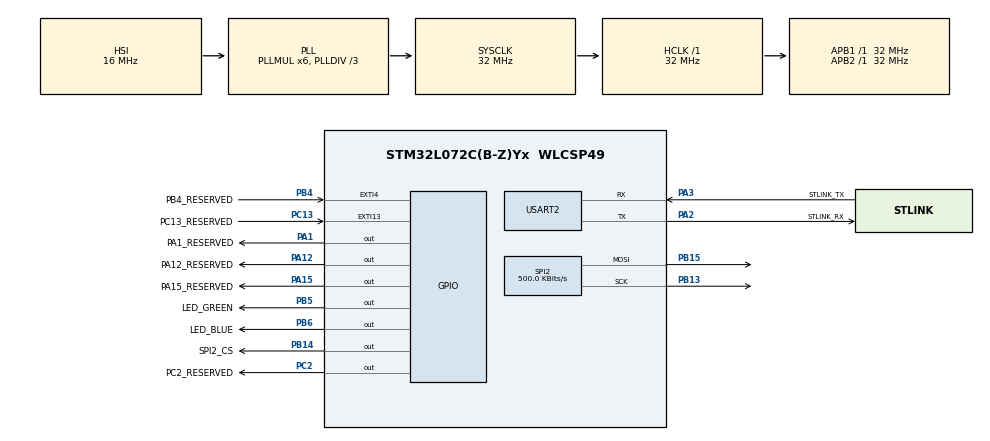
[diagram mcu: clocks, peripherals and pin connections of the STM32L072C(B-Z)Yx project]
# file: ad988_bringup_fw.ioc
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Mcu.Family=STM32L0
Mcu.Name=STM32L072C(B-Z)Yx
Mcu.Package=WLCSP49
NVIC.EXTI4_15_IRQn=true\:0\:0\:false\:false\:true\:true\:true\:true
NVIC.RTC_IRQn=true\:0\:0\:false\:false\:true\:true\:true\:true
NVIC.USART2_IRQn=true\:0\:0\:false\:false\:true\:true\:true\:true
PA1.GPIO_Label=PA1_RESERVED
PA1.GPIO_Speed=GPIO_SPEED_FREQ_HIGH
PA1.PinState=GPIO_PIN_RESET
PA1.Signal=GPIO_Output
PA12.GPIO_Label=PA12_RESERVED
PA12.GPIO_Speed=GPIO_SPEED_FREQ_HIGH
PA12.Signal=GPIO_Output
PA13.Mode=Serial_Wire
PA13.Signal=SYS_SWDIO
PA14.Mode=Serial_Wire
PA14.Signal=SYS_SWCLK
PA15.GPIO_Label=PA15_RESERVED
PA15.GPIO_Speed=GPIO_SPEED_FREQ_HIGH
PA15.Signal=GPIO_Output
PA2.GPIO_Label=STLINK_RX
PA2.Mode=Asynchronous
PA2.Signal=USART2_TX
PA3.GPIO_Label=STLINK_TX
PA3.Mode=Asynchronous
PA3.Signal=USART2_RX
PB13.Mode=TX_Only_Simplex_Unidirect_Master
PB13.Signal=SPI2_SCK
PB14.GPIO_Label=SPI2_CS
PB14.Signal=GPIO_Output
PB15.Mode=TX_Only_Simplex_Unidirect_Master
PB15.Signal=SPI2_MOSI
PB3.GPIO_Label=PB3_RESERVED
PB3.Signal=SPI1_SCK
PB4.GPIO_Label=PB4_RESERVED
PB4.Signal=GPXTI4
PB5.GPIO_Label=LED_GREEN
PB5.Signal=GPIO_Output
PB6.GPIO_Label=LED_BLUE
PB6.Signal=GPIO_Output
PC13.GPIO_Label=PC13_RESERVED
PC13.Signal=GPXTI13
PC2.GPIO_Label=PC2_RESERVED
PC2.GPIO_Speed=GPIO_SPEED_FREQ_HIGH
PC2.Signal=GPIO_Output
PH0-OSC_IN.Mode=HSE-External-Oscillator
PH0-OSC_IN.Signal=RCC_OSC_IN
PH1-OSC_OUT.Mode=HSE-External-Oscillator
PH1-OSC_OUT.Signal=RCC_OSC_OUT
ProjectManager.HeapSize=0x200
ProjectManager.StackSize=0x400
ProjectManager.TargetToolchain=CMake
RCC.AHBFreq_Value=32000000
RCC.APB1Freq_Value=32000000
RCC.APB1TimFreq_Value=32000000
RCC.APB2Freq_Value=32000000
RCC.APB2TimFreq_Value=32000000
RCC.HCLKFreq_Value=32000000
RCC.HSE_VALUE=8000000
RCC.HSI16_VALUE=16000000
RCC.HSI48_VALUE=48000000
RCC.HSI_VALUE=16000000
RCC.LSE_VALUE=32768
RCC.MSI_VALUE=2097000
RCC.PLLDIV=RCC_PLLDIV_3
RCC.PLLMUL=RCC_PLLMUL_6
RCC.SYSCLKFreq_VALUE=32000000
RCC.SYSCLKSource=RCC_SYSCLKSOURCE_PLLCLK
RCC.VCOOutputFreq_Value=96000000
RTC.Alarm-Alarm\ A=RTC_ALARM_A
RTC.AlarmSubSecondMask-Alarm\ A=RTC_ALARMSUBSECONDMASK_NONE
RTC.AsynchPrediv=31
RTC.Format=RTC_FORMAT_BIN
RTC.SynchPrediv=1023
SPI2.BaudRatePrescaler=SPI_BAUDRATEPRESCALER_64
SPI2.CLKPhase=SPI_PHASE_1EDGE
SPI2.CLKPolarity=SPI_POLARITY_HIGH
SPI2.CalculateBaudRate=500.0 KBits/s
SPI2.DataSize=SPI_DATASIZE_16BIT
SPI2.Direction=SPI_DIRECTION_2LINES
SPI2.Mode=SPI_MODE_MASTER
SPI2.VirtualType=VM_MASTER
USART2.VirtualMode-Asynchronous=VM_ASYNC
VP_RTC_VS_RTC_Activate.Mode=RTC_Enabled
VP_RTC_VS_RTC_Alarm_A_Intern.Mode=Alarm A
VP_RTC_VS_RTC_Calendar.Mode=RTC_Calendar
board=B-L072Z-LRWAN1

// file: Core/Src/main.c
/* USER CODE BEGIN Header */
/**
  ******************************************************************************
  * @file           : main.c
  * @brief          : Main program body
  ******************************************************************************
  * @attention
  *
  * Copyright (c) 2025 STMicroelectronics.
  * All rights reserved.
  *
  * This software is licensed under terms that can be found in the LICENSE file
  * in the root directory of this software component.
  * If no LICENSE file comes with this software, it is provided AS-IS.
  *
  ******************************************************************************
  */
/* USER CODE END Header */
#include "main.h"

/* USER CODE BEGIN Includes */
#include "driver_ad9833.h"
/* USER CODE END Includes */

RTC_HandleTypeDef hrtc;

SPI_HandleTypeDef hspi2;

UART_HandleTypeDef huart2;

void SystemClock_Config(void);
static void MX_GPIO_Init(void);
static void MX_RTC_Init(void);
static void MX_SPI2_Init(void);
static void MX_USART2_UART_Init(void);

int main(void)
{

  /* MCU Configuration--------------------------------------------------------*/

  /* Reset of all peripherals, Initializes the Flash interface and the Systick. */
  HAL_Init();

  /* Configure the system clock */
  SystemClock_Config();

  /* Initialize all configured peripherals */
  MX_GPIO_Init();
  MX_RTC_Init();
  MX_SPI2_Init();
  MX_USART2_UART_Init();
  /* USER CODE BEGIN 2 */
  HAL_GPIO_WritePin(SPI2_CS_GPIO_Port, SPI2_CS_Pin, GPIO_PIN_SET);
  /* USER CODE END 2 */

  /* Infinite loop */
  /* USER CODE BEGIN WHILE */
  int loop_idx = 0;
  wave_flag_type_t wavetype = WAVE_TYPE_SIN;
  float freq = 100;
  while (1) {
    loop_idx++;
    if (loop_idx % 4 == 0) {
      wavetype = WAVE_TYPE_SIN;
    } else if (loop_idx % 3 == 0) {
      wavetype = WAVE_TYPE_SQUARE;
    }
    else {
      wavetype = WAVE_TYPE_TRI;
    }
    AD9833_SetWave(wavetype, freq, 0);
    freq *= 2;

    for (int i=0; i<2; i++) {
      HAL_GPIO_TogglePin(LED_GREEN_GPIO_Port, LED_GREEN_Pin);
      HAL_GPIO_TogglePin(LED_BLUE_GPIO_Port, LED_BLUE_Pin);
      HAL_Delay(1000);
    }
    if (freq > 1.0e6) {
      freq = 100.0;
    }
    /* USER CODE END WHILE */

  }
}

void SystemClock_Config(void)
{
  RCC_OscInitTypeDef RCC_OscInitStruct = {0};
  RCC_ClkInitTypeDef RCC_ClkInitStruct = {0};
  RCC_PeriphCLKInitTypeDef PeriphClkInit = {0};

  /** Configure the main internal regulator output voltage
  */
  __HAL_PWR_VOLTAGESCALING_CONFIG(PWR_REGULATOR_VOLTAGE_SCALE1);

  /** Initializes the RCC Oscillators according to the specified parameters
  * in the RCC_OscInitTypeDef structure.
  */
  RCC_OscInitStruct.OscillatorType = RCC_OSCILLATORTYPE_HSI|RCC_OSCILLATORTYPE_LSI;
  RCC_OscInitStruct.HSIState = RCC_HSI_ON;
  RCC_OscInitStruct.HSICalibrationValue = RCC_HSICALIBRATION_DEFAULT;
  RCC_OscInitStruct.LSIState = RCC_LSI_ON;
  RCC_OscInitStruct.PLL.PLLState = RCC_PLL_ON;
  RCC_OscInitStruct.PLL.PLLSource = RCC_PLLSOURCE_HSI;
  RCC_OscInitStruct.PLL.PLLMUL = RCC_PLLMUL_6;
  RCC_OscInitStruct.PLL.PLLDIV = RCC_PLLDIV_3;
  if (HAL_RCC_OscConfig(&RCC_OscInitStruct) != HAL_OK)
  {
    Error_Handler();
  }

  /** Initializes the CPU, AHB and APB buses clocks
  */
  RCC_ClkInitStruct.ClockType = RCC_CLOCKTYPE_HCLK|RCC_CLOCKTYPE_SYSCLK
                              |RCC_CLOCKTYPE_PCLK1|RCC_CLOCKTYPE_PCLK2;
  RCC_ClkInitStruct.SYSCLKSource = RCC_SYSCLKSOURCE_PLLCLK;
  RCC_ClkInitStruct.AHBCLKDivider = RCC_SYSCLK_DIV1;
  RCC_ClkInitStruct.APB1CLKDivider = RCC_HCLK_DIV1;
  RCC_ClkInitStruct.APB2CLKDivider = RCC_HCLK_DIV1;

  if (HAL_RCC_ClockConfig(&RCC_ClkInitStruct, FLASH_LATENCY_1) != HAL_OK)
  {
    Error_Handler();
  }
  PeriphClkInit.PeriphClockSelection = RCC_PERIPHCLK_USART2|RCC_PERIPHCLK_RTC;
  PeriphClkInit.Usart2ClockSelection = RCC_USART2CLKSOURCE_PCLK1;
  PeriphClkInit.RTCClockSelection = RCC_RTCCLKSOURCE_LSI;
  if (HAL_RCCEx_PeriphCLKConfig(&PeriphClkInit) != HAL_OK)
  {
    Error_Handler();
  }
}

static void MX_RTC_Init(void)
{

  RTC_TimeTypeDef sTime = {0};
  RTC_DateTypeDef sDate = {0};
  RTC_AlarmTypeDef sAlarm = {0};

  /** Initialize RTC Only
  */
  hrtc.Instance = RTC;
  hrtc.Init.HourFormat = RTC_HOURFORMAT_24;
  hrtc.Init.AsynchPrediv = 31;
  hrtc.Init.SynchPrediv = 1023;
  hrtc.Init.OutPut = RTC_OUTPUT_DISABLE;
  hrtc.Init.OutPutRemap = RTC_OUTPUT_REMAP_NONE;
  hrtc.Init.OutPutPolarity = RTC_OUTPUT_POLARITY_HIGH;
  hrtc.Init.OutPutType = RTC_OUTPUT_TYPE_OPENDRAIN;
  if (HAL_RTC_Init(&hrtc) != HAL_OK)
  {
    Error_Handler();
  }

  /** Initialize RTC and set the Time and Date
  */
  sTime.Hours = 0;
  sTime.Minutes = 0;
  sTime.Seconds = 0;
  sTime.DayLightSaving = RTC_DAYLIGHTSAVING_NONE;
  sTime.StoreOperation = RTC_STOREOPERATION_RESET;
  if (HAL_RTC_SetTime(&hrtc, &sTime, RTC_FORMAT_BIN) != HAL_OK)
  {
    Error_Handler();
  }
  sDate.WeekDay = RTC_WEEKDAY_MONDAY;
  sDate.Month = RTC_MONTH_JANUARY;
  sDate.Date = 1;
  sDate.Year = 0;

  if (HAL_RTC_SetDate(&hrtc, &sDate, RTC_FORMAT_BIN) != HAL_OK)
  {
    Error_Handler();
  }

  /** Enable the Alarm A
  */
  sAlarm.AlarmTime.Hours = 0;
  sAlarm.AlarmTime.Minutes = 0;
  sAlarm.AlarmTime.Seconds = 0;
  sAlarm.AlarmTime.SubSeconds = 0;
  sAlarm.AlarmTime.DayLightSaving = RTC_DAYLIGHTSAVING_NONE;
  sAlarm.AlarmTime.StoreOperation = RTC_STOREOPERATION_RESET;
  sAlarm.AlarmMask = RTC_ALARMMASK_NONE;
  sAlarm.AlarmSubSecondMask = RTC_ALARMSUBSECONDMASK_NONE;
  sAlarm.AlarmDateWeekDaySel = RTC_ALARMDATEWEEKDAYSEL_DATE;
  sAlarm.AlarmDateWeekDay = 1;
  sAlarm.Alarm = RTC_ALARM_A;
  if (HAL_RTC_SetAlarm_IT(&hrtc, &sAlarm, RTC_FORMAT_BIN) != HAL_OK)
  {
    Error_Handler();
  }

}

static void MX_SPI2_Init(void)
{

  /* SPI2 parameter configuration*/
  hspi2.Instance = SPI2;
  hspi2.Init.Mode = SPI_MODE_MASTER;
  hspi2.Init.Direction = SPI_DIRECTION_2LINES;
  hspi2.Init.DataSize = SPI_DATASIZE_16BIT;
  hspi2.Init.CLKPolarity = SPI_POLARITY_HIGH;
  hspi2.Init.CLKPhase = SPI_PHASE_1EDGE;
  hspi2.Init.NSS = SPI_NSS_SOFT;
  hspi2.Init.BaudRatePrescaler = SPI_BAUDRATEPRESCALER_64;
  hspi2.Init.FirstBit = SPI_FIRSTBIT_MSB;
  hspi2.Init.TIMode = SPI_TIMODE_DISABLE;
  hspi2.Init.CRCCalculation = SPI_CRCCALCULATION_DISABLE;
  hspi2.Init.CRCPolynomial = 7;
  if (HAL_SPI_Init(&hspi2) != HAL_OK)
  {
    Error_Handler();
  }

}

static void MX_USART2_UART_Init(void)
{

  huart2.Instance = USART2;
  huart2.Init.BaudRate = 115200;
  huart2.Init.WordLength = UART_WORDLENGTH_8B;
  huart2.Init.StopBits = UART_STOPBITS_1;
  huart2.Init.Parity = UART_PARITY_NONE;
  huart2.Init.Mode = UART_MODE_TX_RX;
  huart2.Init.HwFlowCtl = UART_HWCONTROL_NONE;
  huart2.Init.OverSampling = UART_OVERSAMPLING_16;
  huart2.Init.OneBitSampling = UART_ONE_BIT_SAMPLE_DISABLE;
  huart2.AdvancedInit.AdvFeatureInit = UART_ADVFEATURE_NO_INIT;
  if (HAL_UART_Init(&huart2) != HAL_OK)
  {
    Error_Handler();
  }

}

static void MX_GPIO_Init(void)
{
  GPIO_InitTypeDef GPIO_InitStruct = {0};

  /* GPIO Ports Clock Enable */
  __HAL_RCC_GPIOA_CLK_ENABLE();
  __HAL_RCC_GPIOB_CLK_ENABLE();
  __HAL_RCC_GPIOC_CLK_ENABLE();
  __HAL_RCC_GPIOH_CLK_ENABLE();

  /*Configure GPIO pin Output Level */
  HAL_GPIO_WritePin(GPIOA, PA15_RESERVED_Pin|PA12_RESERVED_Pin|PA1_RESERVED_Pin, GPIO_PIN_RESET);

  /*Configure GPIO pin Output Level */
  HAL_GPIO_WritePin(GPIOB, LED_GREEN_Pin|LED_BLUE_Pin|SPI2_CS_Pin, GPIO_PIN_RESET);

  /*Configure GPIO pin Output Level */
  HAL_GPIO_WritePin(PC2_RESERVED_GPIO_Port, PC2_RESERVED_Pin, GPIO_PIN_RESET);

  /*Configure GPIO pins : PA15_RESERVED_Pin PA12_RESERVED_Pin PA1_RESERVED_Pin */
  GPIO_InitStruct.Pin = PA15_RESERVED_Pin|PA12_RESERVED_Pin|PA1_RESERVED_Pin;
  GPIO_InitStruct.Mode = GPIO_MODE_OUTPUT_PP;
  GPIO_InitStruct.Pull = GPIO_NOPULL;
  GPIO_InitStruct.Speed = GPIO_SPEED_FREQ_HIGH;
  HAL_GPIO_Init(GPIOA, &GPIO_InitStruct);

  /*Configure GPIO pin : PB3_RESERVED_Pin */
  GPIO_InitStruct.Pin = PB3_RESERVED_Pin;
  GPIO_InitStruct.Mode = GPIO_MODE_AF_PP;
  GPIO_InitStruct.Pull = GPIO_NOPULL;
  GPIO_InitStruct.Speed = GPIO_SPEED_FREQ_VERY_HIGH;
  GPIO_InitStruct.Alternate = GPIO_AF0_SPI1;
  HAL_GPIO_Init(PB3_RESERVED_GPIO_Port, &GPIO_InitStruct);

  /*Configure GPIO pins : LED_GREEN_Pin LED_BLUE_Pin SPI2_CS_Pin */
  GPIO_InitStruct.Pin = LED_GREEN_Pin|LED_BLUE_Pin|SPI2_CS_Pin;
  GPIO_InitStruct.Mode = GPIO_MODE_OUTPUT_PP;
  GPIO_InitStruct.Pull = GPIO_NOPULL;
  GPIO_InitStruct.Speed = GPIO_SPEED_FREQ_LOW;
  HAL_GPIO_Init(GPIOB, &GPIO_InitStruct);

  /*Configure GPIO pin : PB4_RESERVED_Pin */
  GPIO_InitStruct.Pin = PB4_RESERVED_Pin;
  GPIO_InitStruct.Mode = GPIO_MODE_IT_RISING;
  GPIO_InitStruct.Pull = GPIO_NOPULL;
  HAL_GPIO_Init(PB4_RESERVED_GPIO_Port, &GPIO_InitStruct);

  /*Configure GPIO pin : PC13_RESERVED_Pin */
  GPIO_InitStruct.Pin = PC13_RESERVED_Pin;
  GPIO_InitStruct.Mode = GPIO_MODE_IT_RISING;
  GPIO_InitStruct.Pull = GPIO_NOPULL;
  HAL_GPIO_Init(PC13_RESERVED_GPIO_Port, &GPIO_InitStruct);

  /*Configure GPIO pin : PC2_RESERVED_Pin */
  GPIO_InitStruct.Pin = PC2_RESERVED_Pin;
  GPIO_InitStruct.Mode = GPIO_MODE_OUTPUT_PP;
  GPIO_InitStruct.Pull = GPIO_NOPULL;
  GPIO_InitStruct.Speed = GPIO_SPEED_FREQ_HIGH;
  HAL_GPIO_Init(PC2_RESERVED_GPIO_Port, &GPIO_InitStruct);

  /* EXTI interrupt init*/
  HAL_NVIC_SetPriority(EXTI4_15_IRQn, 0, 0);
  HAL_NVIC_EnableIRQ(EXTI4_15_IRQn);

}

void Error_Handler(void)
{
  /* USER CODE BEGIN Error_Handler_Debug */
  /* User can add his own implementation to report the HAL error return state */
  __disable_irq();
  HAL_GPIO_WritePin(LED_GREEN_GPIO_Port, LED_GREEN_Pin, GPIO_PIN_SET);
  HAL_GPIO_WritePin(LED_BLUE_GPIO_Port, LED_BLUE_Pin, GPIO_PIN_SET);

  while (1)
  {
  }
  /* USER CODE END Error_Handler_Debug */
}
